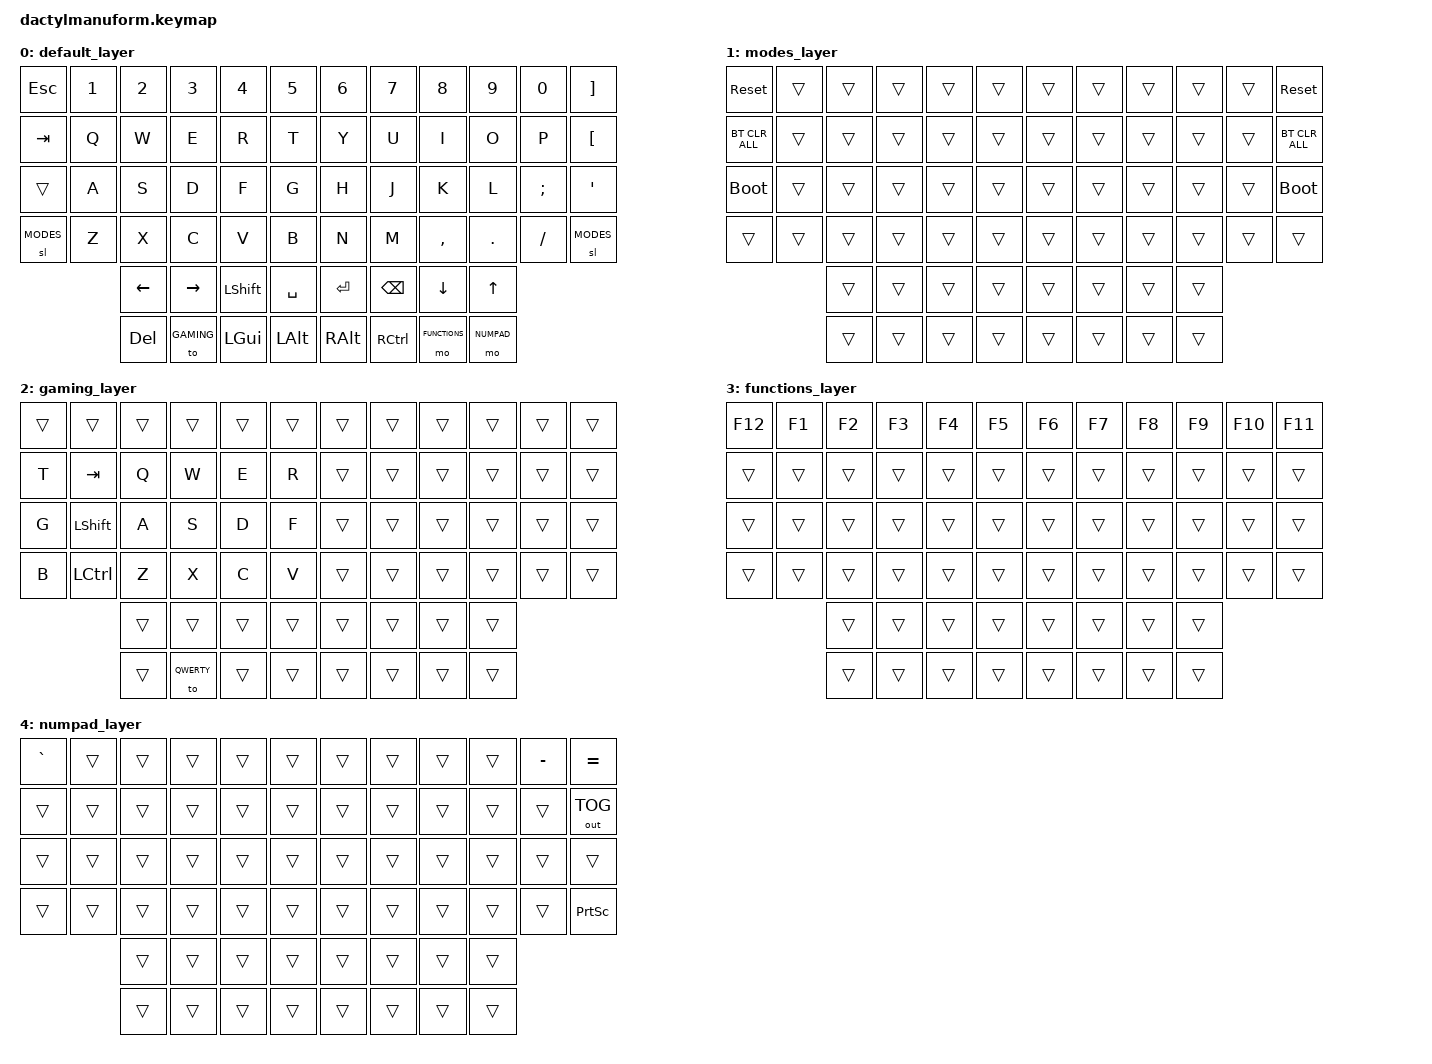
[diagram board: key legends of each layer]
#include <behaviors.dtsi>
#include <dt-bindings/zmk/keys.h>
#include <dt-bindings/zmk/bt.h>
#include <dt-bindings/zmk/outputs.h>
#include <dt-bindings/zmk/ext_power.h>

#define QWERTY 0
#define MODES 1
#define GAMING 2
#define FUNCTIONS 3
#define NUMPAD 4

/ {
	keymap {
		compatible = "zmk,keymap";

		default_layer {
			bindings = <
&kp ESC    &kp N1  &kp N2     &kp N3      &kp N4     &kp N5        &kp N6     &kp N7     &kp N8         &kp N9      &kp N0    &kp RBKT
&kp TAB    &kp Q   &kp W      &kp E       &kp R      &kp T         &kp Y      &kp U      &kp I          &kp O       &kp P     &kp LBKT
&trans     &kp A   &kp S      &kp D       &kp F      &kp G         &kp H      &kp J      &kp K          &kp L       &kp SEMI  &kp SQT
&sl MODES  &kp Z   &kp X      &kp C       &kp V      &kp B         &kp N      &kp M      &kp COMMA      &kp DOT     &kp FSLH  &sl MODES
                 &kp LEFT   &kp RIGHT   &kp LSHFT  &kp SPACE     &kp ENTER  &kp BSPC   &kp DOWN       &kp UP
                 &kp DEL    &to GAMING  &kp LGUI   &kp LALT      &kp RALT   &kp RCTRL  &mo FUNCTIONS  &mo NUMPAD
			>; 
		};

		modes_layer {
		 	bindings = <
&sys_reset      &trans        &trans  &trans  &trans  &trans       &trans  &trans  &trans  &trans  &trans  &sys_reset
&bt BT_CLR_ALL  &trans        &trans  &trans  &trans  &trans       &trans  &trans  &trans  &trans  &trans  &bt BT_CLR_ALL
&bootloader     &trans        &trans  &trans  &trans  &trans       &trans  &trans  &trans  &trans  &trans  &bootloader
&trans          &trans        &trans  &trans  &trans  &trans       &trans  &trans  &trans  &trans  &trans  &trans
                             &trans  &trans  &trans  &trans       &trans  &trans  &trans  &trans
                             &trans  &trans  &trans  &trans       &trans  &trans  &trans  &trans
			>;
		};

		gaming_layer {
			bindings = <
&trans  &trans     &trans  &trans      &trans   &trans         &trans  &trans  &trans  &trans  &trans  &trans
&kp T   &kp TAB    &kp Q   &kp W       &kp E    &kp R          &trans  &trans  &trans  &trans  &trans  &trans
&kp G   &kp LSHFT  &kp A   &kp S       &kp D    &kp F          &trans  &trans  &trans  &trans  &trans  &trans
&kp B   &kp LCTRL  &kp Z   &kp X       &kp C    &kp V          &trans  &trans  &trans  &trans  &trans  &trans
                   &trans  &trans      &trans   &trans         &trans  &trans  &trans  &trans
                   &trans  &to QWERTY  &trans   &trans         &trans  &trans  &trans  &trans
			>; 
		}; 
 
		functions_layer { 
			bindings = < 
&kp F12  &kp F1  &kp F2  &kp F3  &kp F4  &kp F5       &kp F6  &kp F7  &kp F8  &kp F9  &kp F10  &kp F11
&trans   &trans  &trans  &trans  &trans  &trans       &trans  &trans  &trans  &trans  &trans   &trans
&trans   &trans  &trans  &trans  &trans  &trans       &trans  &trans  &trans  &trans  &trans   &trans
&trans   &trans  &trans  &trans  &trans  &trans       &trans  &trans  &trans  &trans  &trans   &trans
                 &trans  &trans  &trans  &trans       &trans  &trans  &trans  &trans
                 &trans  &trans  &trans  &trans       &trans  &trans  &trans  &trans
			>;
		};

		numpad_layer {
			bindings = <
&kp GRAVE    &trans  &trans  &trans  &trans  &trans          &trans  &trans  &trans  &trans  &kp MINUS  &kp EQUAL
&trans       &trans  &trans  &trans  &trans  &trans          &trans  &trans  &trans  &trans  &trans     &out OUT_TOG
&trans       &trans  &trans  &trans  &trans  &trans          &trans  &trans  &trans  &trans  &trans     &trans
&trans       &trans  &trans  &trans  &trans  &trans          &trans  &trans  &trans  &trans  &trans     &kp PRINTSCREEN
                     &trans  &trans  &trans  &trans          &trans  &trans  &trans  &trans
                     &trans  &trans  &trans  &trans          &trans  &trans  &trans  &trans
			>;
		};
	};
};

